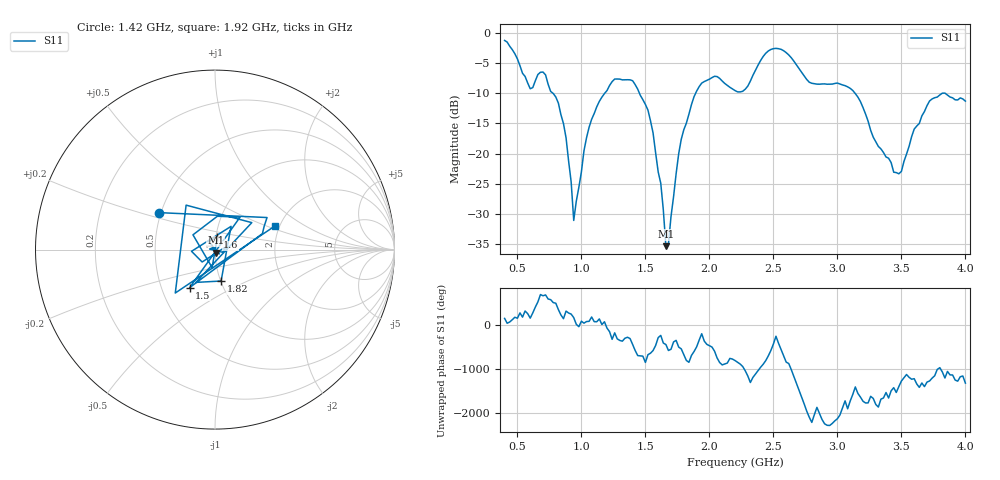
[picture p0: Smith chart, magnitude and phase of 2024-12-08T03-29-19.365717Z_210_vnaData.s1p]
!Created with skrf (http://scikit-rf.org).
# Hz S RI R 50.0
!freq ReS11 ImS11
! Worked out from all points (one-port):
!   181 points, 400 MHz to 4 GHz, reference 50 ohm
!   lowest |S11| = -35.3 dB at 1.66 GHz (marker M1), VSWR 1.03, Z = 50.3 - j1.69 ohm
!   |S11| at or under -10 dB: 776 MHz to 1.183 GHz (407.3 MHz wide, 41.6 % of centre); 1.453 GHz to 1.893 GHz (440.2 MHz wide, 26.3 % of centre); 3.137 GHz to end of sweep
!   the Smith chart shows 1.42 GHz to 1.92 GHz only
!   S11 on the Smith chart (normalised r, x): 1.42 GHz: 0.49, +0.23; 1.5 GHz: 0.69, -0.31; 1.6 GHz: 1.02, +0.14; 1.82 GHz: 1.00, -0.36; 1.92 GHz: 1.89, +0.57
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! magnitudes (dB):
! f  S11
! 400 MHz  -1.3
! 600 MHz  -9.3
! 720 MHz  -7.0
! 860 MHz  -15.1
! 920 MHz  -24.7
! 940 MHz  -31.1
! 1.08 GHz  -14.3
! 1.3 GHz  -7.7
! 1.42 GHz  -8.6
! 1.5 GHz  -11.9
! 1.6 GHz  -23.0
! 1.62 GHz  -24.9
! 1.66 GHz  -35.3
! 1.68 GHz  -35.0
! 1.76 GHz  -20.0
! 1.82 GHz  -15.0
! 1.92 GHz  -8.9
! 2.06 GHz  -7.3
! 2.2 GHz  -9.6
! 2.48 GHz  -2.8
! 2.66 GHz  -4.7
! 2.78 GHz  -8.2
! 3.1 GHz  -9.2
! 3.44 GHz  -23.1
! 3.5 GHz  -23.0
! 3.56 GHz  -18.8
! 3.72 GHz  -11.3
! 4 GHz  -11.3
